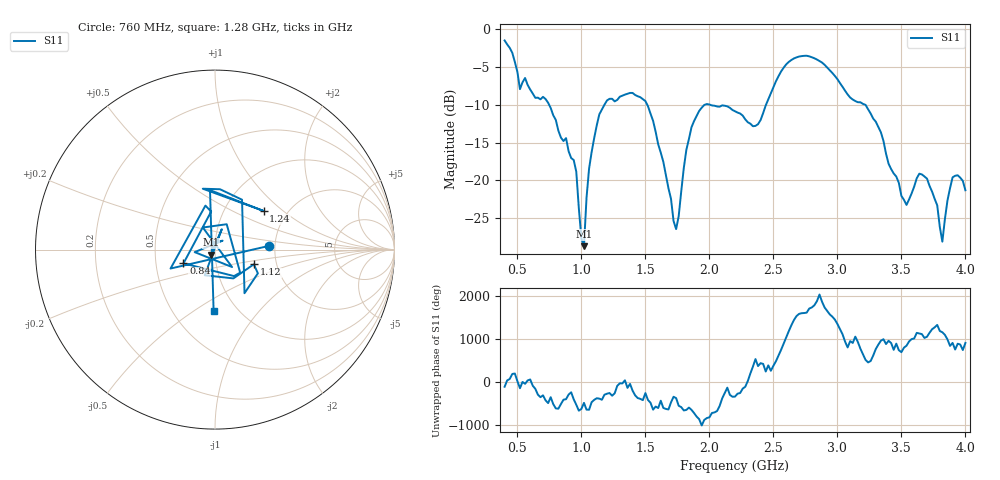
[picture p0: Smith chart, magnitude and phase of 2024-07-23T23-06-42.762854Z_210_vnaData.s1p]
!Created with skrf (http://scikit-rf.org).
# Hz S RI R 50.0
!freq ReS11 ImS11
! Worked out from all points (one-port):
!   181 points, 400 MHz to 4 GHz, reference 50 ohm
!   lowest |S11| = -28.7 dB at 1.02 GHz (marker M1), VSWR 1.08, Z = 47.7 - j2.75 ohm
!   |S11| at or under -10 dB: 747.5 MHz to 1.18 GHz (432.5 MHz wide, 44.9 % of centre); 1.514 GHz to 1.965 GHz (450.6 MHz wide, 25.9 % of centre); 3.216 GHz to end of sweep (the widest 3 of 4)
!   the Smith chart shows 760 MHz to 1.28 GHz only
!   S11 on the Smith chart (normalised r, x): 760 MHz: 1.86, +0.08; 840 MHz: 0.69, -0.11; 1.12 GHz: 1.52, -0.26; 1.24 GHz: 1.52, +0.74; 1.28 GHz: 0.78, -0.60
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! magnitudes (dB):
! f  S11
! 400 MHz  -1.5
! 520 MHz  -7.9
! 760 MHz  -10.4
! 840 MHz  -14.3
! 860 MHz  -14.8
! 960 MHz  -18.9
! 1 GHz  -27.7
! 1.02 GHz  -28.7
! 1.06 GHz  -18.4
! 1.12 GHz  -12.7
! 1.24 GHz  -9.2
! 1.28 GHz  -9.4
! 1.3 GHz  -8.9
! 1.52 GHz  -10.2
! 1.72 GHz  -25.4
! 1.76 GHz  -24.8
! 1.82 GHz  -16.0
! 1.92 GHz  -10.8
! 2.2 GHz  -10.9
! 2.38 GHz  -12.6
! 2.66 GHz  -3.9
! 3.1 GHz  -9.1
! 3.3 GHz  -12.2
! 3.56 GHz  -22.5
! 3.7 GHz  -19.8
! 3.82 GHz  -28.1
! 3.9 GHz  -19.6
! 4 GHz  -21.3
